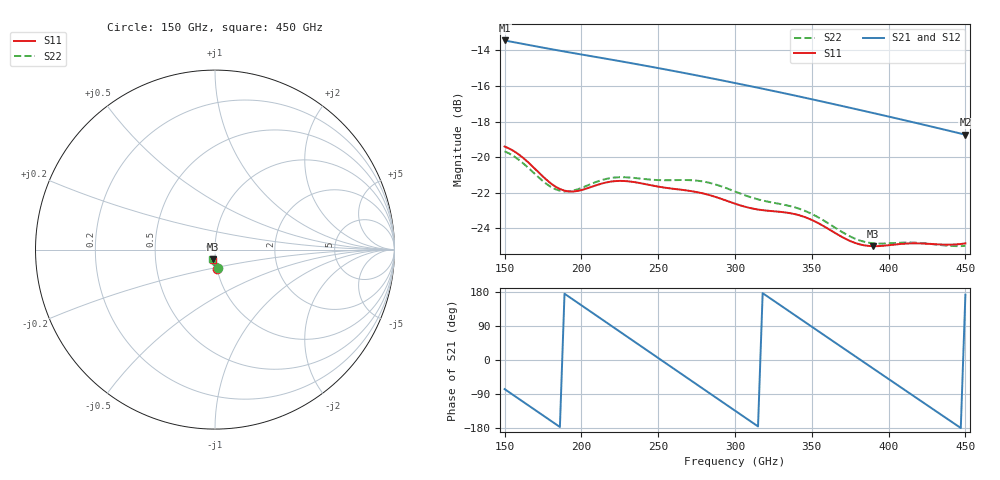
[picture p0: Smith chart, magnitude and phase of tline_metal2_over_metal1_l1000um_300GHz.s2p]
#  GHZ S DB R 50
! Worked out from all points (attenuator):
!   101 points, 150 GHz to 450 GHz, reference 50 ohm
!   highest |S21| = -13.44 dB at 150 GHz (marker M1); lowest = -18.7 dB at 450 GHz (marker M2)
!   lowest |S11| = -25.0 dB at 390 GHz (marker M3), VSWR 1.12, Z = 48.4 - j5.29 ohm
!   |S11| at or under -10 dB: start of sweep to end of sweep
!   |S22| runs from -25.0 to -19.7 dB; largest |S21 - S12| = 3.1e-15
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150  -19.40 -83.7  -13.44 -76.8  -13.44 -76.8  -19.66 -81.8
162  -20.03 -87.6  -13.63 -110.1  -13.63 -110.1  -20.34 -84.8
177  -21.25 -88.7  -13.87 -151.8  -13.87 -151.8  -21.48 -84.4
189  -21.88 -85.5  -14.06 174.9  -14.06 174.9  -21.92 -80.5
201  -21.82 -82.5  -14.24 141.6  -14.24 141.6  -21.69 -77.7
213  -21.49 -82.8  -14.42 108.2  -14.42 108.2  -21.29 -78.6
225  -21.33 -85.5  -14.60 74.8  -14.60 74.8  -21.12 -81.5
240  -21.48 -89.2  -14.83 33.1  -14.83 33.1  -21.22 -84.9
252  -21.68 -91.4  -15.02 -0.3  -15.02 -0.3  -21.29 -86.9
264  -21.82 -93.4  -15.22 -33.7  -15.22 -33.7  -21.28 -89.4
276  -21.97 -95.9  -15.42 -67.0  -15.42 -67.0  -21.32 -92.8
288  -22.25 -98.4  -15.62 -100.4  -15.62 -100.4  -21.55 -96.5
300  -22.61 -100.1  -15.83 -133.7  -15.83 -133.7  -21.92 -99.4
312  -22.89 -100.9  -16.04 -167.0  -16.04 -167.0  -22.29 -101.2
324  -23.03 -101.8  -16.26 159.8  -16.26 159.8  -22.54 -102.6
339  -23.20 -104.5  -16.53 118.2  -16.53 118.2  -22.82 -105.5
351  -23.56 -107.0  -16.76 85.0  -16.76 85.0  -23.23 -108.2
372  -24.59 -107.6  -17.17 27.0  -17.17 27.0  -24.31 -109.5
390  -25.00 -104.1  -17.52 -22.6  -17.52 -22.6  -24.83 -106.5
402  -24.92 -102.6  -17.75 -55.7  -17.75 -55.7  -24.83 -105.1
423  -24.85 -102.4  -18.18 -113.5  -18.18 -113.5  -24.83 -105.3
450  -24.84 -100.7  -18.73 172.3  -18.73 172.3  -24.98 -104.5
